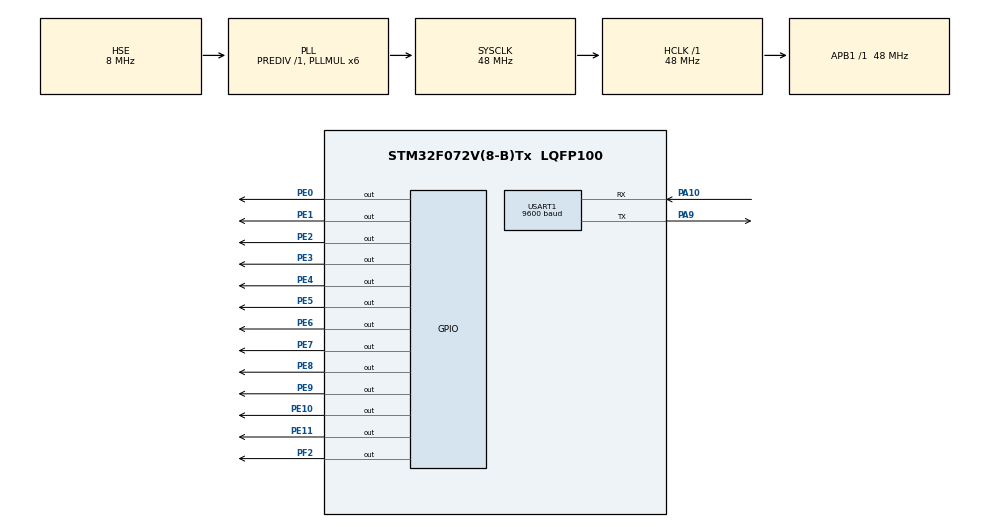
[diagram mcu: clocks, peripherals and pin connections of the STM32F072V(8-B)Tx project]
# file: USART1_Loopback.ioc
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Mcu.Family=STM32F0
Mcu.Name=STM32F072V(8-B)Tx
Mcu.Package=LQFP100
NVIC.USART1_IRQn=true\:0\:0\:false\:false\:true
PA10.Mode=Asynchronous
PA10.Signal=USART1_RX
PA9.Mode=Asynchronous
PA9.Signal=USART1_TX
PE0.Signal=GPIO_Output
PE1.Signal=GPIO_Output
PE10.Signal=GPIO_Output
PE11.Signal=GPIO_Output
PE2.Signal=GPIO_Output
PE3.Signal=GPIO_Output
PE4.Signal=GPIO_Output
PE5.Signal=GPIO_Output
PE6.Signal=GPIO_Output
PE7.Signal=GPIO_Output
PE8.Signal=GPIO_Output
PE9.Signal=GPIO_Output
PF0-OSC_IN.Mode=HSE-External-Oscillator
PF0-OSC_IN.Signal=RCC_OSC_IN
PF1-OSC_OUT.Mode=HSE-External-Oscillator
PF1-OSC_OUT.Signal=RCC_OSC_OUT
PF2.Signal=GPIO_Output
ProjectManager.HeapSize=0x200
ProjectManager.StackSize=0x400
ProjectManager.TargetToolchain=MDK-ARM V5
RCC.AHBFreq_Value=48000000
RCC.APB1Freq_Value=48000000
RCC.APB1TimFreq_Value=48000000
RCC.HCLKFreq_Value=48000000
RCC.HSIState=RCC_HSI_ON
RCC.PLLMUL=RCC_PLL_MUL6
RCC.PLLSourceVirtual=RCC_PLLSOURCE_HSE
RCC.SYSCLKFreq_VALUE=48000000
RCC.SYSCLKSource=RCC_SYSCLKSOURCE_PLLCLK
USART1.BaudRate=9600
USART1.WordLength=UART_WORDLENGTH_8B
board=USART1_Loopback

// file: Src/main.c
/**
  ******************************************************************************
  * File Name          : main.c
  * Description        : Main program body
  ******************************************************************************
  *
  * COPYRIGHT(c) 2018 STMicroelectronics
  *
  * Redistribution and use in source and binary forms, with or without modification,
  * are permitted provided that the following conditions are met:
  *   1. Redistributions of source code must retain the above copyright notice,
  *      this list of conditions and the following disclaimer.
  *   2. Redistributions in binary form must reproduce the above copyright notice,
  *      this list of conditions and the following disclaimer in the documentation
  *      and/or other materials provided with the distribution.
  *   3. Neither the name of STMicroelectronics nor the names of its contributors
  *      may be used to endorse or promote products derived from this software
  *      without specific prior written permission.
  *
  * THIS SOFTWARE IS PROVIDED BY THE COPYRIGHT HOLDERS AND CONTRIBUTORS "AS IS"
  * AND ANY EXPRESS OR IMPLIED WARRANTIES, INCLUDING, BUT NOT LIMITED TO, THE
  * IMPLIED WARRANTIES OF MERCHANTABILITY AND FITNESS FOR A PARTICULAR PURPOSE ARE
  * DISCLAIMED. IN NO EVENT SHALL THE COPYRIGHT HOLDER OR CONTRIBUTORS BE LIABLE
  * FOR ANY DIRECT, INDIRECT, INCIDENTAL, SPECIAL, EXEMPLARY, OR CONSEQUENTIAL
  * DAMAGES (INCLUDING, BUT NOT LIMITED TO, PROCUREMENT OF SUBSTITUTE GOODS OR
  * SERVICES; LOSS OF USE, DATA, OR PROFITS; OR BUSINESS INTERRUPTION) HOWEVER
  * CAUSED AND ON ANY THEORY OF LIABILITY, WHETHER IN CONTRACT, STRICT LIABILITY,
  * OR TORT (INCLUDING NEGLIGENCE OR OTHERWISE) ARISING IN ANY WAY OUT OF THE USE
  * OF THIS SOFTWARE, EVEN IF ADVISED OF THE POSSIBILITY OF SUCH DAMAGE.
  *
  ******************************************************************************
  */
#include "stm32f0xx_hal.h"

UART_HandleTypeDef huart1;

/* USER CODE BEGIN PV */
/* Private variables ---------------------------------------------------------*/
uint8_t  transmit_data;         /* 定义数据发送变量 */
uint8_t  receive_data;          /* 定义数据接收变量 */
uint32_t status;                /* 定义状态变量     */

/* USER CODE END PV */

void SystemClock_Config(void);
void Error_Handler(void);
static void MX_GPIO_Init(void);
static void MX_USART1_UART_Init(void);

/* USER CODE BEGIN PFP */
/* Private function prototypes -----------------------------------------------*/
void SEG_Display(uint32_t num);              /*  数码管显示函数   */

/* USER CODE END PFP */

/* USER CODE BEGIN 0 */
const uint8_t table0[]= {0x3f,0x06,0x5b,0x4f,0x66,0x6d,0x7d,0x07,0x7f,0x6f};  /* 共阴（无点）*/
const uint8_t table1[]= {0xbf,0x86,0xdb,0xcf,0xe6,0xed,0xfd,0x87,0xff,0xef};  /* 共阴（有点）*/

/* USER CODE END 0 */

int main(void)
{

  /* MCU Configuration----------------------------------------------------------*/

  /* Reset of all peripherals, Initializes the Flash interface and the Systick. */
  HAL_Init();

  /* Configure the system clock */
  SystemClock_Config();

  /* Initialize all configured peripherals */
  MX_GPIO_Init();
  MX_USART1_UART_Init();

  /* Infinite loop */
  /* USER CODE BEGIN WHILE */
  while (1)
  {
		/* 非阻塞模式（中断方式）下接收1个字节数据 */
		status = HAL_UART_Receive_IT(&huart1,&receive_data,1);
		/* 数码管显示接收到的数据 */
		SEG_Display(receive_data);
		/* 连续发送256个数据字节 */
		if(transmit_data<255)
		{
			/* 数据发送变量自加1 */
			transmit_data++;
			/* 阻塞模式下发送1个字节数据 */
			status= HAL_UART_Transmit(&huart1,&transmit_data,1,5);
		}
		HAL_Delay(10);

  /* USER CODE END WHILE */

  }

}

/** System Clock Configuration
*/
void SystemClock_Config(void)
{

  RCC_OscInitTypeDef RCC_OscInitStruct;
  RCC_ClkInitTypeDef RCC_ClkInitStruct;
  RCC_PeriphCLKInitTypeDef PeriphClkInit;

  RCC_OscInitStruct.OscillatorType = RCC_OSCILLATORTYPE_HSE;
  RCC_OscInitStruct.HSEState = RCC_HSE_ON;
  RCC_OscInitStruct.PLL.PLLState = RCC_PLL_ON;
  RCC_OscInitStruct.PLL.PLLSource = RCC_PLLSOURCE_HSE;
  RCC_OscInitStruct.PLL.PLLMUL = RCC_PLL_MUL6;
  RCC_OscInitStruct.PLL.PREDIV = RCC_PREDIV_DIV1;
  if (HAL_RCC_OscConfig(&RCC_OscInitStruct) != HAL_OK)
  {
    Error_Handler();
  }

  RCC_ClkInitStruct.ClockType = RCC_CLOCKTYPE_HCLK|RCC_CLOCKTYPE_SYSCLK
                              |RCC_CLOCKTYPE_PCLK1;
  RCC_ClkInitStruct.SYSCLKSource = RCC_SYSCLKSOURCE_PLLCLK;
  RCC_ClkInitStruct.AHBCLKDivider = RCC_SYSCLK_DIV1;
  RCC_ClkInitStruct.APB1CLKDivider = RCC_HCLK_DIV1;
  if (HAL_RCC_ClockConfig(&RCC_ClkInitStruct, FLASH_LATENCY_1) != HAL_OK)
  {
    Error_Handler();
  }

  PeriphClkInit.PeriphClockSelection = RCC_PERIPHCLK_USART1;
  PeriphClkInit.Usart1ClockSelection = RCC_USART1CLKSOURCE_PCLK1;
  if (HAL_RCCEx_PeriphCLKConfig(&PeriphClkInit) != HAL_OK)
  {
    Error_Handler();
  }

  HAL_SYSTICK_Config(HAL_RCC_GetHCLKFreq()/1000);

  HAL_SYSTICK_CLKSourceConfig(SYSTICK_CLKSOURCE_HCLK);

  /* SysTick_IRQn interrupt configuration */
  HAL_NVIC_SetPriority(SysTick_IRQn, 0, 0);
}

/* USART1 init function */
static void MX_USART1_UART_Init(void)
{

  huart1.Instance = USART1;
  huart1.Init.BaudRate = 9600;
  huart1.Init.WordLength = UART_WORDLENGTH_8B;
  huart1.Init.StopBits = UART_STOPBITS_1;
  huart1.Init.Parity = UART_PARITY_NONE;
  huart1.Init.Mode = UART_MODE_TX_RX;
  huart1.Init.HwFlowCtl = UART_HWCONTROL_NONE;
  huart1.Init.OverSampling = UART_OVERSAMPLING_16;
  huart1.Init.OneBitSampling = UART_ONE_BIT_SAMPLE_DISABLE;
  huart1.AdvancedInit.AdvFeatureInit = UART_ADVFEATURE_NO_INIT;
  if (HAL_UART_Init(&huart1) != HAL_OK)
  {
    Error_Handler();
  }

}

/** Configure pins as
        * Analog
        * Input
        * Output
        * EVENT_OUT
        * EXTI
*/
static void MX_GPIO_Init(void)
{

  GPIO_InitTypeDef GPIO_InitStruct;

  /* GPIO Ports Clock Enable */
  __HAL_RCC_GPIOE_CLK_ENABLE();
  __HAL_RCC_GPIOF_CLK_ENABLE();
  __HAL_RCC_GPIOA_CLK_ENABLE();

  /*Configure GPIO pin Output Level */
  HAL_GPIO_WritePin(GPIOE, GPIO_PIN_2|GPIO_PIN_3|GPIO_PIN_4|GPIO_PIN_5
                          |GPIO_PIN_6|GPIO_PIN_7|GPIO_PIN_8|GPIO_PIN_9
                          |GPIO_PIN_10|GPIO_PIN_11|GPIO_PIN_0|GPIO_PIN_1, GPIO_PIN_RESET);

  /*Configure GPIO pin Output Level */
  HAL_GPIO_WritePin(GPIOF, GPIO_PIN_2, GPIO_PIN_RESET);

  /*Configure GPIO pins : PE2 PE3 PE4 PE5
                           PE6 PE7 PE8 PE9
                           PE10 PE11 PE0 PE1 */
  GPIO_InitStruct.Pin = GPIO_PIN_2|GPIO_PIN_3|GPIO_PIN_4|GPIO_PIN_5
                          |GPIO_PIN_6|GPIO_PIN_7|GPIO_PIN_8|GPIO_PIN_9
                          |GPIO_PIN_10|GPIO_PIN_11|GPIO_PIN_0|GPIO_PIN_1;
  GPIO_InitStruct.Mode = GPIO_MODE_OUTPUT_PP;
  GPIO_InitStruct.Pull = GPIO_NOPULL;
  GPIO_InitStruct.Speed = GPIO_SPEED_FREQ_LOW;
  HAL_GPIO_Init(GPIOE, &GPIO_InitStruct);

  /*Configure GPIO pin : PF2 */
  GPIO_InitStruct.Pin = GPIO_PIN_2;
  GPIO_InitStruct.Mode = GPIO_MODE_OUTPUT_PP;
  GPIO_InitStruct.Pull = GPIO_NOPULL;
  GPIO_InitStruct.Speed = GPIO_SPEED_FREQ_LOW;
  HAL_GPIO_Init(GPIOF, &GPIO_InitStruct);

}

/* USER CODE BEGIN 4 */

/*  数码管显示函数  */
void SEG_Display(uint32_t num)
{
	/* 取出四位数显示值 */
  uint8_t GeWei,ShiWei,BaiWei,QianWei;
	GeWei   = (uint8_t)(num%10);
	ShiWei  = (uint8_t)(num%100/10);
	BaiWei  = (uint8_t)(num%1000/100);
	QianWei = (uint8_t)(num/1000);

	/* 使能数码管位驱动  */
	HAL_GPIO_WritePin(GPIOF,GPIO_PIN_2,GPIO_PIN_RESET);

	/* 显示个位 */
	GPIOE->ODR |= (uint16_t)(table0[GeWei]);
	/* 使能个位 */
	HAL_GPIO_WritePin(GPIOE,GPIO_PIN_9|GPIO_PIN_10|GPIO_PIN_11,GPIO_PIN_SET);
	HAL_GPIO_WritePin(GPIOE,GPIO_PIN_8,GPIO_PIN_RESET);
	HAL_Delay(3);
	/* 消隐 */
  GPIOE->ODR &= 0xFF00;
	GPIOE->ODR |= 0x0F00;
	HAL_Delay(1);

	/* 显示十位 */
	GPIOE->ODR |= (uint16_t)(table0[ShiWei]);
	/* 使能十位 */
	HAL_GPIO_WritePin(GPIOE,GPIO_PIN_8|GPIO_PIN_10|GPIO_PIN_11,GPIO_PIN_SET);
	HAL_GPIO_WritePin(GPIOE,GPIO_PIN_9,GPIO_PIN_RESET);
	HAL_Delay(3);
	/* 消隐 */
  GPIOE->ODR &= 0xFF00;
	GPIOE->ODR |= 0x0F00;
	HAL_Delay(1);

	/* 显示百位 */
	GPIOE->ODR |= (uint16_t)(table0[BaiWei]);
	/* 使能百位 */
	HAL_GPIO_WritePin(GPIOE,GPIO_PIN_8|GPIO_PIN_9|GPIO_PIN_11,GPIO_PIN_SET);
	HAL_GPIO_WritePin(GPIOE,GPIO_PIN_10,GPIO_PIN_RESET);
	HAL_Delay(3);
	/* 消隐 */
  GPIOE->ODR &= 0xFF00;
	GPIOE->ODR |= 0x0F00;
	HAL_Delay(1);

	/* 显示千位 */
	GPIOE->ODR |= (uint16_t)(table0[QianWei]);
	/* 使能千位 */
	HAL_GPIO_WritePin(GPIOE,GPIO_PIN_8|GPIO_PIN_9|GPIO_PIN_10,GPIO_PIN_SET);
	HAL_GPIO_WritePin(GPIOE,GPIO_PIN_11,GPIO_PIN_RESET);
	HAL_Delay(3);
	/* 消隐 */
  GPIOE->ODR &= 0xFF00;
	GPIOE->ODR |= 0x0F00;
	HAL_Delay(1);
}

/* USER CODE END 4 */

void Error_Handler(void)
{
  while(1)
  {
  }
}

/************************ (C) COPYRIGHT STMicroelectronics *****END OF FILE****/
